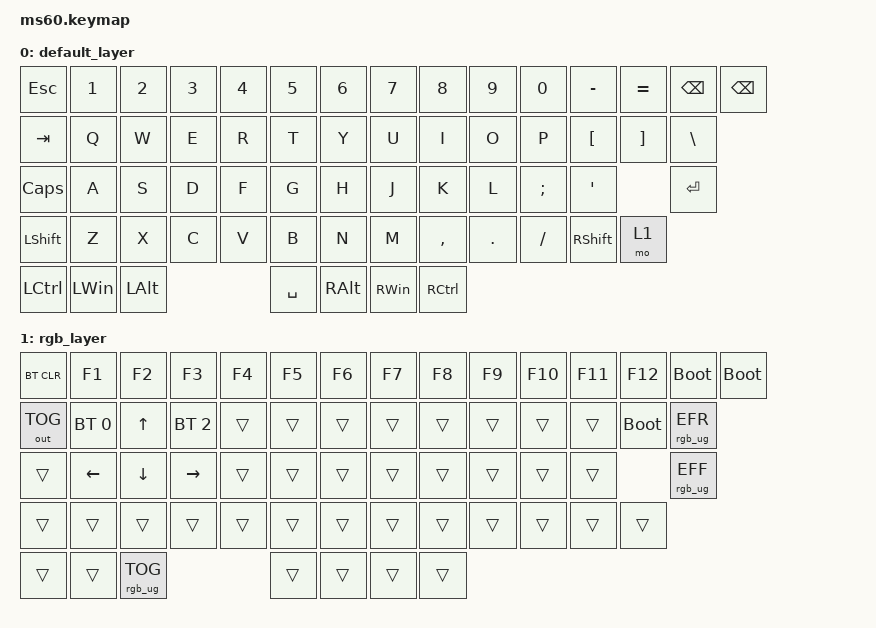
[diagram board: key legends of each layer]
#include <behaviors.dtsi>
#include <dt-bindings/zmk/bt.h>
#include <dt-bindings/zmk/keys.h>
#include <dt-bindings/zmk/outputs.h>
#include <dt-bindings/zmk/rgb.h>

/ {
    keymap {
        compatible = "zmk,keymap";

        default_layer {
            // -------------------------------------------------------------------------------------------
            // | ESC |  1  |  2  |  3  |  4  |  5  |  6  |  7  |  8  |  9  |  0  |  -  |  =  | BKSP |BKSP|
            // | TAB  |  Q  |  W  |  E  |  R  |  T  |  Y  |  U  |  I  |  O  |  P  |  [  |  ]  |   "|"    |
            // | CAPS  |  A  |  S  |  D  |  F  |  G  |  H  |  J  |  K  |  L  |  ;  |  '  |     ENTER     |
            // |  SHIFT  |  Z  |  X  |  C  |  V  |  B  |  N  |  M  |  ,  |  .  |   SHFT   |  UP  |   /   |
            // |  CTL  |  WIN  |  ALT  |           SPACE             | FN(1) | WIN | LEFT | DOWN | RIGHT |
            // -------------------------------------------------------------------------------------------

            bindings = <
&kp ESC    &kp N1        &kp N2        &kp N3  &kp N4  &kp N5     &kp N6         &kp N7         &kp N8     &kp N9   &kp N0     &kp MINUS  &kp EQUAL  &kp BACKSPACE  &kp BSPC
&kp TAB    &kp Q         &kp W         &kp E   &kp R   &kp T      &kp Y          &kp U          &kp I      &kp O    &kp P      &kp LBKT   &kp RBKT   &kp BSLH
&kp CLCK   &kp A         &kp S         &kp D   &kp F   &kp G      &kp H          &kp J          &kp K      &kp L    &kp SEMI   &kp SQT               &kp RET
&kp LSHFT  &kp Z         &kp X         &kp C   &kp V   &kp B      &kp N          &kp M          &kp COMMA  &kp DOT  &kp SLASH  &kp RSHFT  &mo 1
&kp LCTRL  &kp LEFT_WIN  &kp LEFT_ALT                  &kp SPACE  &kp RIGHT_ALT  &kp RIGHT_WIN  &kp RCTRL
            >;
        };

        rgb_layer {
            // ------------------------------------------------------------------------------------------------
            // | BT CLR | F1  | F2  | F3  | F4  | F5  | F6  | F7  | F8  | F9  | F10 | F11 | F12 | BOOT | BOOT |
            // |  BT 1   | TOG  |  UP |   | HUEUP | SATUP | BRIUP | SPDUP |   |     |   |    |    |  RGB_efect|
            // |   BT 2   | LT |  DN  | RT | HUEDN | SATDN | BRIDN | SPDDN |   |     |   |     |  EFFECT FORW |
            // |    BT 3     |     |      |      |     |     |     |     |     |     |     |                  |
            // |   BT 4  |      |      |             TOG RGB                | PRT SCR |    |    |     |  DEL  |
            // ------------------------------------------------------------------------------------------------

            bindings = <
&bt BT_CLR    &kp F1        &kp F2           &kp F3        &kp F4  &kp F5  &kp F6  &kp F7  &kp F8  &kp F9  &kp F10  &kp F11  &kp F12      &bootloader      &bootloader
&out OUT_TOG  &bt BT_SEL 0  &kp UP_ARROW     &bt BT_SEL 2  &trans  &trans  &trans  &trans  &trans  &trans  &trans   &trans   &bootloader  &rgb_ug RGB_EFR
&trans        &kp LEFT      &kp DOWN_ARROW   &kp RIGHT     &trans  &trans  &trans  &trans  &trans  &trans  &trans   &trans                &rgb_ug RGB_EFF
&trans        &trans        &trans           &trans        &trans  &trans  &trans  &trans  &trans  &trans  &trans   &trans   &trans
&trans        &trans        &rgb_ug RGB_TOG                        &trans  &trans  &trans  &trans
            >;
        };
    };
};
